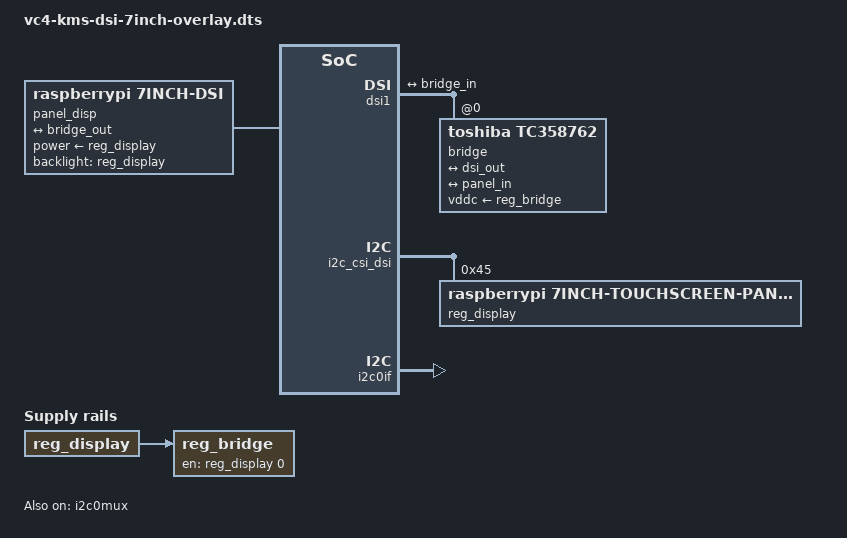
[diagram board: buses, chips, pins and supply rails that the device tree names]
/*
 * Device Tree overlay for RaspberryPi 7" Touchscreen panel
 *
 */

/dts-v1/;
/plugin/;

#include "edt-ft5406.dtsi"

/ {
	/* No compatible as it will have come from edt-ft5406.dtsi */

	dsi_frag: fragment@0 {
		target = <&dsi1>;
		__overlay__ {
			#address-cells = <1>;
			#size-cells = <0>;
			status = "okay";
			port {
				dsi_out: endpoint {
					remote-endpoint = <&bridge_in>;
				};
			};
			bridge@0 {
				reg = <0>;
				compatible = "toshiba,tc358762";
				vddc-supply = <&reg_bridge>;
				ports {
					#address-cells = <1>;
					#size-cells = <0>;

					port@0 {
						reg = <0>;
						bridge_in: endpoint {
							remote-endpoint = <&dsi_out>;
						};
					};

					port@1 {
						reg = <1>;
						bridge_out: endpoint {
							remote-endpoint = <&panel_in>;
						};
					};
				};
			};
		};
	};

	fragment@1 {
		target-path = "/";
		__overlay__ {
			panel_disp: panel_disp@1 {
				reg = <1>;
				compatible = "raspberrypi,7inch-dsi", "simple-panel";
				backlight = <&reg_display>;
				power-supply = <&reg_display>;

				port {
					panel_in: endpoint {
						remote-endpoint = <&bridge_out>;
					};
				};
			};

			reg_bridge: reg_bridge@1 {
				reg = <1>;
				compatible = "regulator-fixed";
				regulator-name = "bridge_reg";
				gpio = <&reg_display 0 0>;
				vin-supply = <&reg_display>;
				enable-active-high;
			};
		};
	};

	fragment@2 {
		target = <&updown>;
		__overlay__ {
			output-low;
		};
	};

	fragment@3 {
		target = <&leftright>;
		__overlay__ {
			output-high;
		};
	};

	fragment@4 {
		target = <&updown>;
		__dormant__ {
			output-high;
		};
	};

	fragment@5 {
		target = <&leftright>;
		__dormant__ {
			output-low;
		};
	};

	i2c_frag: fragment@6 {
		target = <&i2c_csi_dsi>;
		__overlay__ {
			#address-cells = <1>;
			#size-cells = <0>;
			status = "okay";

			reg_display: reg_display@45 {
				compatible = "raspberrypi,7inch-touchscreen-panel-regulator";
				reg = <0x45>;
				gpio-controller;
				#gpio-cells = <2>;

				updown: updown@2 {
					gpio-hog;
					gpios = <2 0>;
				};
				leftright: leftright@3 {
					gpio-hog;
					gpios = <3 0>;
				};
			};
		};
	};

	fragment@7 {
		target = <&i2c0if>;
		__overlay__ {
			status = "okay";
		};
	};

	fragment@8 {
		target = <&i2c0mux>;
		__overlay__ {
			status = "okay";
		};
	};
	fragment@9 {
		target = <&ft5406>;
		__overlay__ {
			vcc-supply = <&reg_display>;
			reset-gpio = <&reg_display 1 1>;
		};
	};

	// NB fragments 10 - 12 are imported from edt-ft5406.dtsi

	__overrides__ {
		dsi0 = <&dsi_frag>, "target:0=",<&dsi0>,
		       <&i2c_frag>, "target:0=",<&i2c_csi_dsi0>,
		       <&ts_i2c_frag>, "target:0=",<&i2c_csi_dsi0>,
		       <&panel_disp>, "reg:0=0",
		       <&reg_bridge>, "reg:0=0",
		       <&reg_bridge>, "regulator-name=bridge_reg_0";
		disable_touch = <&ft5406>, "status=disabled";
		invert = <0>,"-2-3+4+5-10-11";
		vflip = <0>,"-2+4-11";
		hflip = <0>,"-3+5-10";
	};
};
